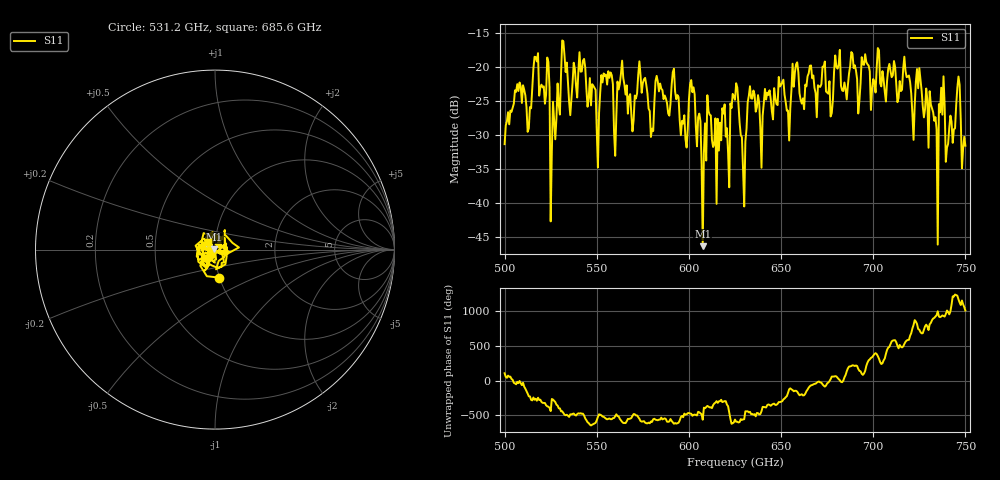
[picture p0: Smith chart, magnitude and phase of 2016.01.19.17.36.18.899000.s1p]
!Created with skrf (http://scikit-rf.org).
# GHz S RI R 50.0
!freq ReS11 ImS11
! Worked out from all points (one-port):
!   401 points, 500 GHz to 750 GHz, reference 50 ohm
!   lowest |S11| = -46.3 dB at 607.5 GHz (marker M1), VSWR 1.01, Z = 49.6 + j0.199 ohm
!   |S11| at or under -10 dB: start of sweep to end of sweep
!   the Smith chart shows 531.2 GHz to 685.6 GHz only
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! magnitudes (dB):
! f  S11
! 500 GHz  -31.3
! 506.9 GHz  -22.5
! 513.1 GHz  -29.0
! 516.9 GHz  -18.5
! 523.1 GHz  -18.6
! 526.2 GHz  -25.1
! 531.2 GHz  -16.1
! 550.6 GHz  -34.7
! 562.5 GHz  -22.5
! 579.4 GHz  -30.2
! 583.1 GHz  -22.1
! 593.8 GHz  -24.1
! 598.1 GHz  -30.5
! 601.9 GHz  -23.7
! 607.5 GHz  -46.3
! 611.2 GHz  -27.0
! 621.2 GHz  -32.6
! 625 GHz  -24.8
! 629.4 GHz  -35.1
! 633.8 GHz  -24.6
! 656.2 GHz  -19.5
! 687.5 GHz  -19.8
! 718.8 GHz  -21.4
! 733.8 GHz  -27.3
! 736.9 GHz  -23.0
! 740.6 GHz  -31.3
! 746.2 GHz  -21.4
! 750 GHz  -31.5
